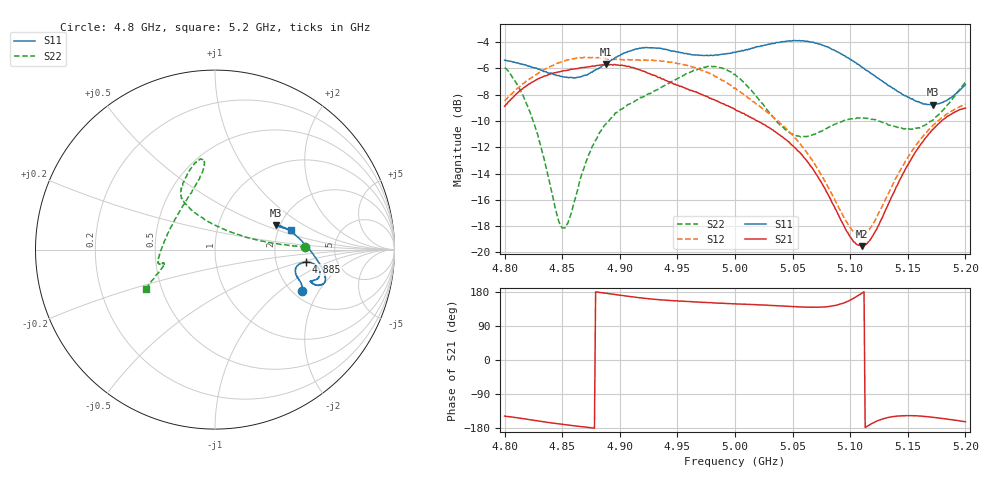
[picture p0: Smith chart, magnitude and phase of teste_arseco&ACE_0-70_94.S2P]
! Network Analyzer HP8722D
! Hewlett-Packard
! Data name: Linha & Wilkinson
! Saver's name: Rodrigo Anjos
! Comments: Teste da utilização de aquisição
! continua pelo VNA HP8722D
! Time and date: 8/5/2025 13:32
!  Frequency  S11  S21  S12  S22
# HZ  S  MA R 50
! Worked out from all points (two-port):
!   401 points, 4.8 GHz to 5.2 GHz, reference 50 ohm
!   highest |S21| = -5.69 dB at 4.888 GHz (marker M1); lowest = -19.5 dB at 5.11 GHz (marker M2)
!   |S21| within 3 dB of the highest: 4.802 GHz to 4.99 GHz (187.6 MHz wide, 3.83 % of centre)
!   lowest |S11| = -8.8 dB at 5.172 GHz (marker M3), VSWR 2.15, Z = 95.2 + j29.6 ohm
!   |S11| at or under -10 dB: nowhere
!   |S22| runs from -18.1 to -5.8 dB; largest |S21 - S12| = 1.1
!   S11 on the Smith chart (normalised r, x): 4.8 GHz: 2.23, -1.46; 4.885 GHz: 2.99, -0.56; 5.2 GHz: 2.33, +0.63
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4.8e9  0.538 -25.5  0.3594 -148.1  0.3772 11.2  0.5035 1.6
4.812e9  0.5241 -22.5  0.4071 -153.0  0.4225 9.4  0.4267 2.8
4.824e9  0.5054 -20.4  0.4443 -158.5  0.4632 7.6  0.3228 6.3
4.849e9  0.4666 -16.2  0.488 -169.4  0.5294 3.7  0.1259 56.2
4.855e9  0.4627 -14.6  0.4926 -171.8  0.5405 2.7  0.1295 83.8
4.867e9  0.4669 -11.2  0.5038 -175.9  0.549 1.2  0.1984 113.5
4.885e9  0.5132 -7.7  0.5165 177.5  0.5463 -0.2  0.2959 122.5
4.888e9  0.5218 -7.8  0.5192 176.0  0.5459 -0.4  0.3081 122.9
4.913e9  0.5921 -10.8  0.5013 165.7  0.5388 0.2  0.3761 120.3
4.934e9  0.5974 -15.5  0.462 159.0  0.5362 -0.8  0.4191 114.0
4.976e9  0.5615 -18.4  0.3914 151.7  0.4835 -4.6  0.5091 99.9
5e9  0.5765 -19.0  0.3498 148.1  0.4223 -4.7  0.475 97.3
5.018e9  0.6038 -19.2  0.3178 146.1  0.3677 -2.0  0.3961 103.9
5.044e9  0.6336 -17.5  0.269 142.0  0.2961 3.4  0.2924 131.2
5.067e9  0.6299 -13.2  0.2098 139.2  0.2246 9.6  0.2791 164.5
5.099e9  0.5467 -2.6  0.1165 156.3  0.1265 37.9  0.321 -169.9
5.11e9  0.5067 2.6  0.1057 176.1  0.1165 59.7  0.3244 -166.8
5.119e9  0.4765 7.0  0.1146 -167.3  0.1265 77.1  0.321 -165.7
5.134e9  0.4299 14.1  0.156 -150.9  0.1703 94.7  0.3046 -165.2
5.154e9  0.3838 20.5  0.2303 -147.1  0.2444 102.2  0.2943 -164.1
5.172e9  0.3647 21.7  0.2941 -151.2  0.305 103.2  0.3189 -159.9
5.2e9  0.435 14.7  0.3537 -162.9  0.3666 103.6  0.4448 -150.3
